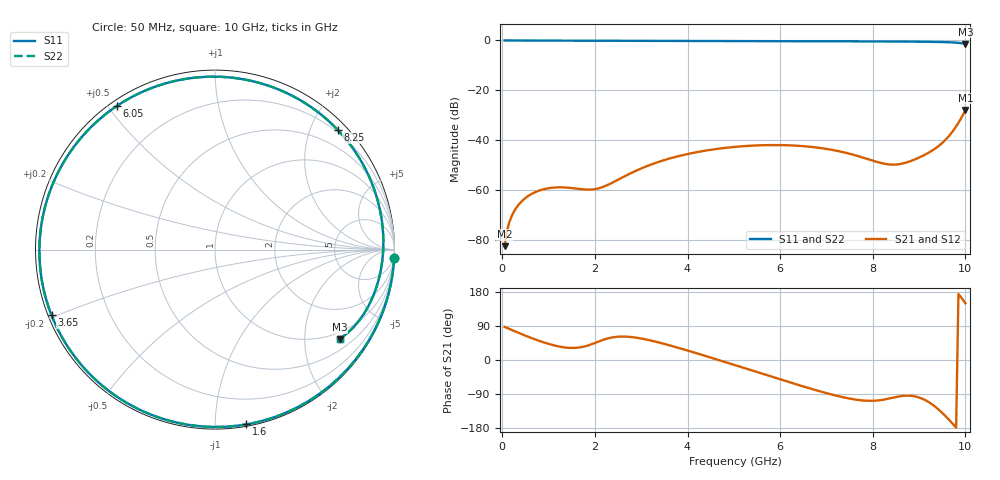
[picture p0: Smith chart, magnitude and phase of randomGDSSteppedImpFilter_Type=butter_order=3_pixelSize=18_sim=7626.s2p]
! freq	dB(S11)	phase(S11)	dB(S12)	phase(S12)
!  dB(S21)	phase(S21)	dB(S22)	phase(S22)
!S-par simulation data
#  GHz  S  DB  R 50
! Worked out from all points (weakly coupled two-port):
!   200 points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, 50 MHz to 10 GHz, reference 50 ohm
!   highest |S21| = -27.85 dB at 10 GHz (marker M1); lowest = -82.3 dB at 50 MHz (marker M2)
!   lowest |S11| = -1.4 dB at 10 GHz (marker M3), VSWR 12.75, Z = 39.4 - j146 ohm
!   |S11| at or under -10 dB: nowhere
!   |S22| runs from -1.4 to 0.0 dB; largest |S21 - S12| = 0
!   S11 on the Smith chart (normalised r, x): 50 MHz: 0, -43; 1.6 GHz: 0.01, -1.20; 3.65 GHz: 0.01, -0.19; 6.05 GHz: 0.02, +0.53; 8.25 GHz: 0.16, +2.44; 10 GHz: 0.79, -2.91
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0.05  -0.00 -2.7  -82.34 87.4  -82.34 87.4  -0.00 -2.7
0.15  -0.01 -8.0  -72.87 82.1  -72.87 82.1  -0.01 -8.0
0.25  -0.02 -13.3  -68.55 76.9  -68.55 76.9  -0.02 -13.3
0.55  -0.04 -28.9  -62.38 61.8  -62.38 61.8  -0.04 -28.9
1  -0.06 -51.6  -59.14 42.5  -59.14 42.5  -0.06 -51.7
1.6  -0.09 -79.8  -59.30 32.1  -59.30 32.1  -0.09 -79.8
1.75  -0.10 -86.4  -59.61 34.9  -59.61 34.9  -0.10 -86.5
2.1  -0.11 -101.2  -59.09 49.8  -59.09 49.8  -0.11 -101.2
2.5  -0.13 -117.1  -55.74 61.5  -55.74 61.5  -0.13 -117.1
3.4  -0.15 -149.6  -48.46 45.7  -48.46 45.7  -0.15 -149.6
3.65  -0.16 -158.1  -47.06 37.4  -47.06 37.4  -0.16 -158.1
4.35  -0.19 179.1  -44.22 12.1  -44.22 12.1  -0.19 179.0
5.05  -0.22 156.7  -42.56 -14.5  -42.56 -14.5  -0.22 156.7
6.05  -0.27 124.2  -41.90 -52.9  -41.90 -52.9  -0.27 124.2
6.7  -0.31 102.0  -42.66 -77.0  -42.66 -77.0  -0.31 102.0
7.5  -0.35 73.1  -45.35 -101.8  -45.35 -101.8  -0.35 73.1
8.25  -0.40 44.4  -49.34 -104.3  -49.34 -104.3  -0.40 44.3
8.35  -0.41 40.4  -49.62 -101.8  -49.62 -101.8  -0.41 40.4
8.8  -0.46 22.2  -48.40 -94.3  -48.40 -94.3  -0.46 22.2
9.35  -0.57 -1.2  -43.25 -123.4  -43.25 -123.4  -0.57 -1.2
9.7  -0.77 -17.9  -36.99 -164.9  -36.99 -164.9  -0.77 -17.9
10  -1.37 -35.7  -27.85 149.5  -27.85 149.5  -1.36 -35.6
